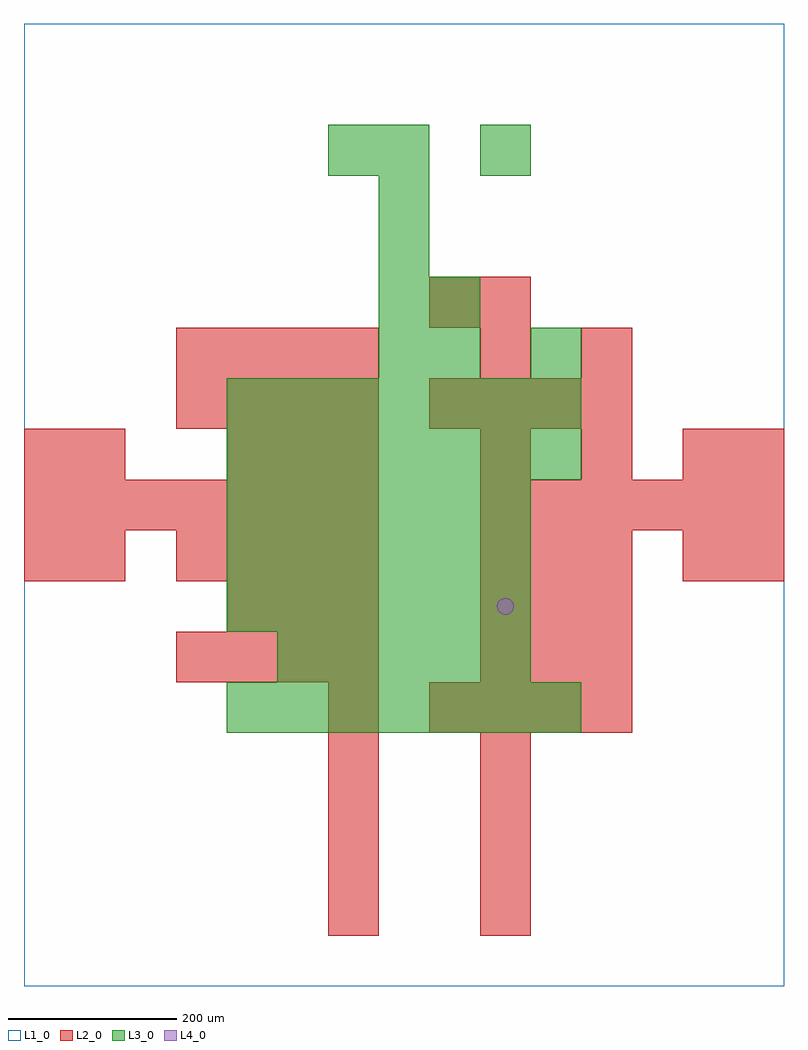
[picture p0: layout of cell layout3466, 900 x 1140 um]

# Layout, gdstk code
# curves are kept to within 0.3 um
import gdstk
lib = gdstk.Library(unit=1e-6, precision=1e-09)
def R(c, l, rs):  # rectangles x0, y0, x1, y1
    for r in rs: c.add(gdstk.rectangle(r[:2], r[2:], *l))
def A(c, l, x, y, w, h, nx, ny, dx, dy):  # array of equal rectangles
    R(c, l, [(x+i*dx, y+j*dy, x+i*dx+w, y+j*dy+h) for i in range(nx) for j in range(ny)])
def P(c, l, *ps):  # polygons
    for p in ps: c.add(gdstk.Polygon(p, *l))
L1_0 = (1, 0)
L2_0 = (2, 0)
L3_0 = (3, 0)
L4_0 = (4, 0)

layout3466 = lib.new_cell('layout3466')
R(layout3466, L1_0, [(0,0,900,1140)])
A(layout3466, L2_0, 360, 60, 60, 60, 1, 5, 0, 60)
A(layout3466, L2_0, 540, 60, 60, 60, 1, 4, 0, 60)
A(layout3466, L2_0, 480, 300, 60, 60, 4, 2, 60, 360)
A(layout3466, L2_0, 180, 360, 60, 60, 4, 2, 60, 120)
A(layout3466, L2_0, 540, 360, 60, 60, 3, 3, 60, 60)
A(layout3466, L2_0, 240, 420, 60, 60, 3, 2, 60, 180)
A(layout3466, L2_0, 0, 540, 60, 60, 7, 1, 60, 0)
A(layout3466, L2_0, 540, 540, 60, 60, 6, 1, 60, 0)
A(layout3466, L2_0, 540, 600, 60, 60, 3, 1, 120, 0)
A(layout3466, L2_0, 180, 660, 60, 60, 4, 2, 60, 60)
R(layout3466, L2_0, [(0,480,60,540), (60,480,120,540), (780,480,840,540), (840,480,900,540), (0,600,60,660), (60,600,120,660), (840,600,900,660), (540,720,600,780), (660,720,720,780), (480,780,540,840), (540,780,600,840)])
A(layout3466, L3_0, 240, 300, 60, 60, 7, 2, 60, 300)
A(layout3466, L3_0, 300, 360, 60, 60, 5, 1, 60, 0)
A(layout3466, L3_0, 240, 420, 60, 60, 6, 3, 60, 60)
A(layout3466, L3_0, 240, 660, 60, 60, 7, 1, 60, 0)
A(layout3466, L3_0, 420, 720, 60, 60, 1, 5, 0, 60)
R(layout3466, L3_0, [(480,720,540,780), (600,720,660,780), (480,780,540,840), (360,960,420,1020), (540,960,600,1020)])
P(layout3466, L4_0, [(580,450),(579.239,453.827),(577.071,457.071),(573.827,459.239),(570,460),(566.173,459.239),(562.929,457.071),(560.761,453.827),(560,450),(560.761,446.173),(562.929,442.929),(566.173,440.761),(570,440),(573.827,440.761),(577.071,442.929),(579.239,446.173)])

lib.write_gds('layout3466.gds')
